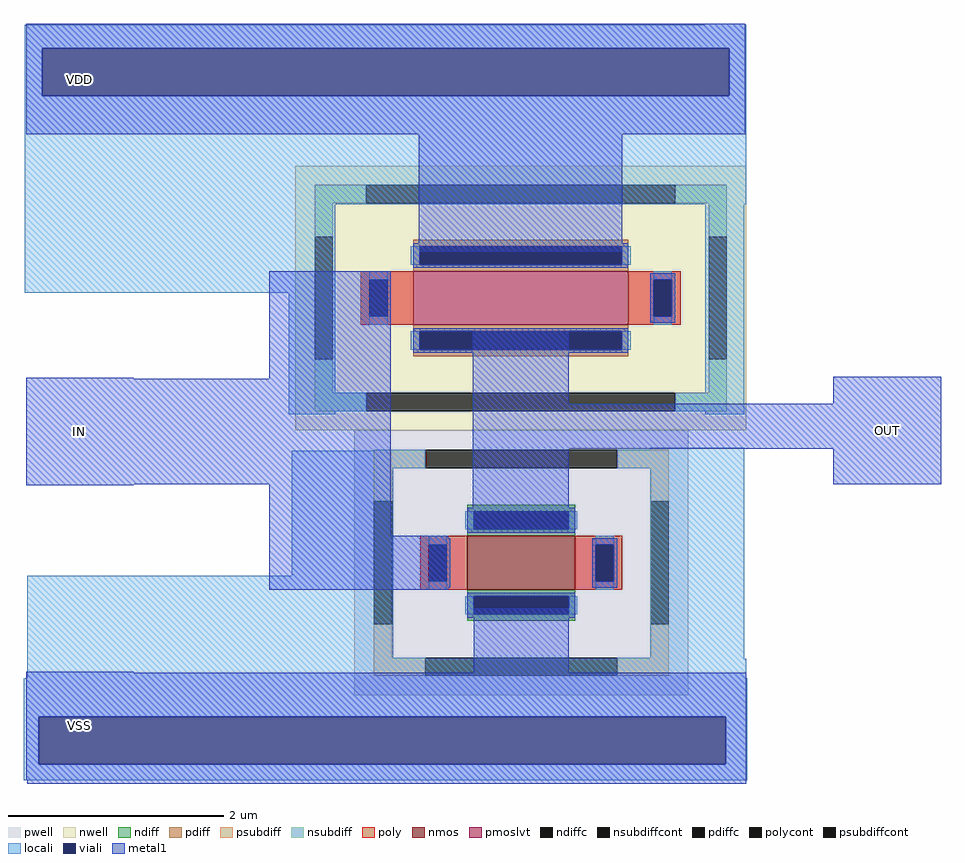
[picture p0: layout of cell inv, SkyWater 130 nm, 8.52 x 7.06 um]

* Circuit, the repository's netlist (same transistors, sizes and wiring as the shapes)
** sch_path: /foss/designs/ttsky-26c-voltage-amplifier-neuron/schem/inv/inv.sch
.subckt inv VDD IN OUT VSS
*.PININFO IN:I VDD:B VSS:B OUT:O
XM1 OUT IN VSS VSS sky130_fd_pr__nfet_01v8 L=0.5 W=1 nf=1
XM2 OUT IN VDD VDD sky130_fd_pr__pfet_01v8_lvt L=0.5 W=2 nf=1
.ends

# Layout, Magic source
magic
tech sky130A
magscale 1 2
<< locali >>
rect 1262 202 1334 204
rect -2 158 1338 202
rect -2 70 30 158
rect 1306 70 1338 158
rect -2 -132 1338 70
rect -2 -296 574 -132
rect 488 -522 574 -296
rect 1262 -522 1334 -132
rect 494 -822 682 -590
rect 2 -976 682 -822
rect 1160 -976 1334 -584
rect 2 -1012 1338 -976
rect -4 -1084 1340 -1012
rect -4 -1172 24 -1084
rect 1300 -1172 1340 -1084
rect -4 -1202 1340 -1172
<< viali >>
rect 30 70 1306 158
rect 24 -1172 1300 -1084
<< metal1 >>
rect 0 158 1336 204
rect 0 70 30 158
rect 1306 70 1336 158
rect 0 -2 1336 70
rect 730 -220 1108 -2
rect 0 -456 200 -454
rect 452 -456 678 -256
rect 0 -652 678 -456
rect 0 -654 200 -652
rect 452 -748 678 -652
rect 830 -502 1008 -368
rect 1500 -502 1700 -452
rect 830 -586 1700 -502
rect 830 -736 1008 -586
rect 1500 -652 1700 -586
rect 452 -848 784 -748
rect 0 -1002 200 -1000
rect 832 -1002 1008 -882
rect 0 -1084 1338 -1002
rect 0 -1172 24 -1084
rect 1300 -1172 1338 -1084
rect 0 -1200 1338 -1172
rect 2 -1208 1338 -1200
use sky130_fd_pr__nfet_01v8_FGWQMQ  XM1
transform 0 1 920 -1 0 -798
box -246 -310 246 310
use sky130_fd_pr__pfet_01v8_lvt_7M33HH  XM2
transform 0 1 919 -1 0 -306
box -246 -419 246 419
<< labels >>
flabel metal1 0 0 200 200 0 FreeSans 1600 0 0 0 VDD
port 0 nsew
flabel metal1 0 -1200 200 -1000 0 FreeSans 1600 0 0 0 VSS
port 3 nsew
flabel metal1 1500 -652 1700 -452 0 FreeSans 1600 0 0 0 OUT
port 2 nsew
flabel metal1 0 -654 200 -454 0 FreeSans 1600 0 0 0 IN
port 1 nsew
<< end >>

# cell sky130_fd_pr__nfet_01v8_FGWQMQ: kit device sky130_fd_pr__nfet_01v8, w 1.0 l 0.5 m 1 nf 1 diffcov 100 polycov 100 guard 1 glc 1 grc 1 gtc 1 gbc 1 tbcov 100 rlcov 100 topc 1 botc 1 poverlap 0 doverlap 1 lmin 0.15 wmin 0.42 class mosfet compatible {sky130_fd_pr__nfet_01v8 sky130_fd_pr__nfet_01v8_lvt sky130_fd_bs_flash__special_sonosfet_star sky130_fd_pr__nfet_g5v0d10v5 sky130_fd_pr__nfet_05v0_nvt sky130_fd_pr__nfet_03v3_nvt} full_metal 1 conn_gates 0 viasrc 100 viadrn 100 viagate 100 viagb 0 viagr 0 viagl 0 viagt 0 doports 1

# cell sky130_fd_pr__pfet_01v8_lvt_7M33HH: kit device sky130_fd_pr__pfet_01v8_lvt, w 2.0 l 0.5 m 1 nf 1 diffcov 100 polycov 100 guard 1 glc 1 grc 1 gtc 1 gbc 1 tbcov 100 rlcov 100 topc 1 botc 1 poverlap 0 doverlap 1 lmin 0.35 wmin 0.42 class mosfet compatible {sky130_fd_pr__pfet_01v8 sky130_fd_pr__pfet_01v8_lvt sky130_fd_pr__pfet_01v8_hvt sky130_fd_pr__pfet_g5v0d10v5} full_metal 1 conn_gates 0 viasrc 100 viadrn 100 viagate 100 viagb 0 viagr 0 viagl 0 viagt 0 doports 1
